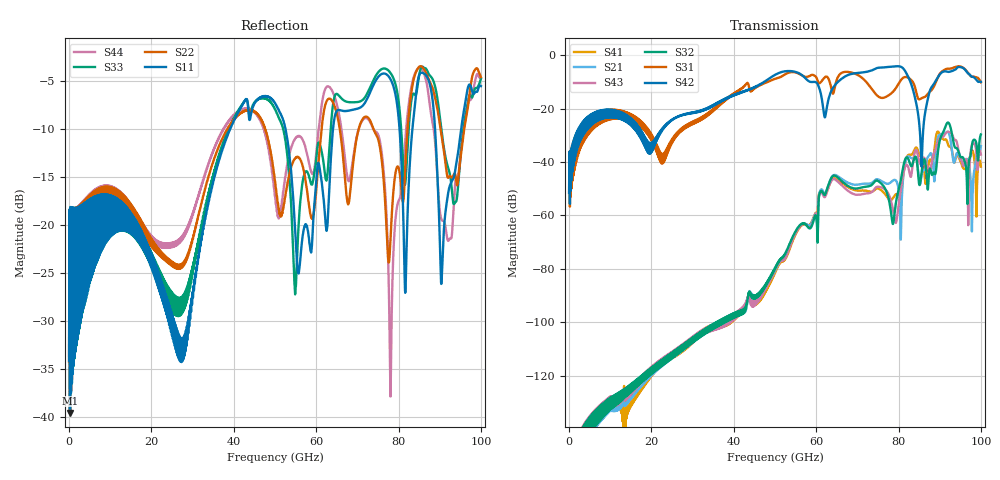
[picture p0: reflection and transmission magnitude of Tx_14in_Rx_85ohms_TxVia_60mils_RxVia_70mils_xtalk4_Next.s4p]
! Info: Touchstone file created by Circ.  Input file=Tx_14in_Rx_85ohms_TxVia_60mils_RxVia_70mils.circ
# Hz S RI R 50
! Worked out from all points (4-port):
!   10000 points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, 10 MHz to 100 GHz, reference 50 ohm
!   strongest paths, dB at 10 MHz, 25.01 GHz, 50.01 GHz, 75.01 GHz, 100 GHz:
!     S42: -51.6, -24.3, -7.4, -4.7, -10.0
!     S31: -51.6, -32.9, -8.9, -15.4, -10.2
!     S32: -195.3, -112.0, -80.1, -47.1, -29.7
!     S43: -159.3, -111.5, -80.6, -49.2, -37.2
!     S21: -196.0, -112.7, -80.9, -46.5, -34.1
!     S41: -161.0, -112.4, -81.6, -49.9, -41.7
!   lowest |S11| = -39.6 dB at 230 MHz (marker M1), VSWR 1.02, Z = 49.2 - j0.705 ohm
!   |S11| at or under -10 dB: start of sweep to 39.08 GHz; 52.57 GHz to 64.09 GHz (11.52 GHz wide, 19.8 % of centre); 88.87 GHz to 95.21 GHz (6.335 GHz wide, 6.88 % of centre) (the widest 3 of 4)
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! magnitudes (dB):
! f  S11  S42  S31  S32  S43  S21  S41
! 10 MHz  -34.1  -51.6  -51.6  -195.3  -159.3  -196.0  -161.0
! 230 MHz  -39.6  -43.4  -43.4  -168.3  -168.6  -170.1  -168.8
! 49.58 GHz  -7.0  -7.8  -9.2  -81.4  -81.9  -82.2  -83.0
! 64.26 GHz  -9.4  -11.9  -13.9  -45.1  -46.4  -44.9  -46.1
! 80.56 GHz  -12.1  -4.3  -9.4  -46.8  -50.4  -68.9  -54.3
! 85.58 GHz  -4.1  -41.7  -16.1  -43.9  -40.8  -45.3  -37.7
! 100 GHz  -5.5  -10.0  -10.2  -29.7  -37.2  -34.1  -41.7
